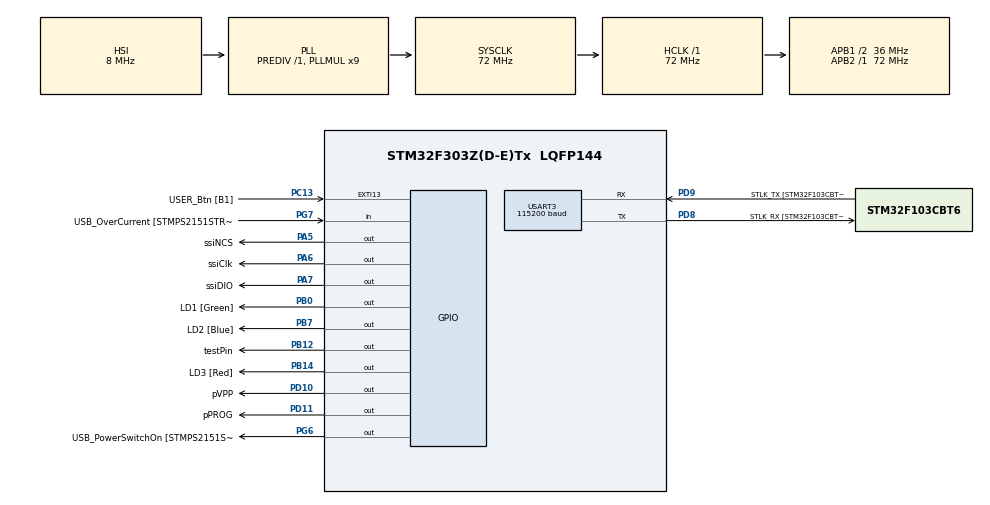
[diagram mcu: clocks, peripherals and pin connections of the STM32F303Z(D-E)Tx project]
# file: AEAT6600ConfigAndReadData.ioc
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Dma.Request0=USART3_TX
Dma.Request1=USART3_RX
Dma.USART3_RX.1.Direction=DMA_PERIPH_TO_MEMORY
Dma.USART3_RX.1.Instance=DMA1_Channel3
Dma.USART3_RX.1.MemDataAlignment=DMA_MDATAALIGN_BYTE
Dma.USART3_RX.1.MemInc=DMA_MINC_ENABLE
Dma.USART3_RX.1.Mode=DMA_NORMAL
Dma.USART3_RX.1.PeriphDataAlignment=DMA_PDATAALIGN_BYTE
Dma.USART3_RX.1.PeriphInc=DMA_PINC_DISABLE
Dma.USART3_RX.1.Priority=DMA_PRIORITY_LOW
Dma.USART3_TX.0.Direction=DMA_MEMORY_TO_PERIPH
Dma.USART3_TX.0.Instance=DMA1_Channel2
Dma.USART3_TX.0.MemDataAlignment=DMA_MDATAALIGN_BYTE
Dma.USART3_TX.0.MemInc=DMA_MINC_ENABLE
Dma.USART3_TX.0.Mode=DMA_NORMAL
Dma.USART3_TX.0.PeriphDataAlignment=DMA_PDATAALIGN_BYTE
Dma.USART3_TX.0.PeriphInc=DMA_PINC_DISABLE
Dma.USART3_TX.0.Priority=DMA_PRIORITY_LOW
Mcu.Family=STM32F3
Mcu.Name=STM32F303Z(D-E)Tx
Mcu.Package=LQFP144
NVIC.DMA1_Channel2_IRQn=true\:0\:0\:false\:false\:true\:false\:true\:true
NVIC.DMA1_Channel3_IRQn=true\:0\:0\:false\:false\:true\:false\:true\:true
NVIC.PriorityGroup=NVIC_PRIORITYGROUP_4
NVIC.TIM1_UP_TIM16_IRQn=true\:0\:0\:false\:false\:true\:true\:true\:true
NVIC.USART3_IRQn=true\:0\:0\:false\:false\:true\:true\:true\:true
PA11.GPIO_Label=USB_DM
PA11.Signal=USB_DM
PA12.GPIO_Label=USB_DP
PA12.Signal=USB_DP
PA13.GPIO_Label=TMS
PA13.Signal=SYS_JTMS-SWDIO
PA14.GPIO_Label=TCK
PA14.Signal=SYS_JTCK-SWCLK
PA5.GPIO_Label=ssiNCS
PA5.GPIO_Speed=GPIO_SPEED_FREQ_MEDIUM
PA5.Signal=GPIO_Output
PA6.GPIO_Label=ssiClk
PA6.GPIO_Speed=GPIO_SPEED_FREQ_HIGH
PA6.Signal=GPIO_Output
PA7.GPIO_Label=ssiDIO
PA7.GPIO_ModeDefaultOutputPP=GPIO_MODE_OUTPUT_OD
PA7.GPIO_PuPd=GPIO_PULLUP
PA7.GPIO_Speed=GPIO_SPEED_FREQ_HIGH
PA7.Signal=GPIO_Output
PB0.GPIO_Label=LD1 [Green]
PB0.Signal=GPIO_Output
PB12.GPIO_Label=testPin
PB12.GPIO_Speed=GPIO_SPEED_FREQ_HIGH
PB12.Signal=GPIO_Output
PB14.GPIO_Label=LD3 [Red]
PB14.Signal=GPIO_Output
PB3.GPIO_Label=SWO
PB3.Signal=SYS_JTDO-TRACESWO
PB7.GPIO_Label=LD2 [Blue]
PB7.GPIO_Speed=GPIO_SPEED_FREQ_MEDIUM
PB7.Signal=GPIO_Output
PC13.GPIO_Label=USER_Btn [B1]
PC13.Signal=GPXTI13
PC14-OSC32_IN.Signal=RCC_OSC32_IN
PC15-OSC32_OUT.Signal=RCC_OSC32_OUT
PD10.GPIO_Label=pVPP
PD10.Signal=GPIO_Output
PD11.GPIO_Label=pPROG
PD11.Signal=GPIO_Output
PD8.GPIO_Label=STLK_RX [STM32F103CBT6_PA3]
PD8.Mode=Asynchronous
PD8.Signal=USART3_TX
PD9.GPIO_Label=STLK_TX [STM32F103CBT6_PA2]
PD9.Mode=Asynchronous
PD9.Signal=USART3_RX
PF0-OSC_IN.GPIO_Label=MCO [STM32F103CBT6_PA8]
PF0-OSC_IN.Signal=RCC_OSC_IN
PG6.GPIO_Label=USB_PowerSwitchOn [STMPS2151STR_EN]
PG6.Signal=GPIO_Output
PG7.GPIO_Label=USB_OverCurrent [STMPS2151STR_FAULT]
PG7.Signal=GPIO_Input
ProjectManager.HeapSize=0x200
ProjectManager.StackSize=0x400
ProjectManager.TargetToolchain=STM32CubeIDE
RCC.AHBFreq_Value=72000000
RCC.APB1CLKDivider=RCC_HCLK_DIV2
RCC.APB1Freq_Value=36000000
RCC.APB1TimFreq_Value=72000000
RCC.APB2Freq_Value=72000000
RCC.APB2TimFreq_Value=72000000
RCC.CortexFreq_Value=72000000
RCC.HCLKFreq_Value=72000000
RCC.HSE_VALUE=8000000
RCC.HSI_VALUE=8000000
RCC.LSE_VALUE=32768
RCC.PLLMUL=RCC_PLL_MUL9
RCC.PRESCALERUSB=RCC_USBCLKSOURCE_PLL_DIV1_5
RCC.SYSCLKFreq_VALUE=72000000
RCC.SYSCLKSourceVirtual=RCC_SYSCLKSOURCE_PLLCLK
RCC.USBFreq_Value=48000000
TIM1.AutoReloadPreload=TIM_AUTORELOAD_PRELOAD_ENABLE
TIM1.Period=5
TIM1.Prescaler=71
USART3.BaudRate=115200
USART3.VirtualMode-Asynchronous=VM_ASYNC
VP_TIM1_VS_ClockSourceINT.Mode=Internal
board=NUCLEO-F303ZE

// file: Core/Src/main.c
/* USER CODE BEGIN Header */
/**
  ******************************************************************************
  * @file           : main.c
  * @brief          : Main program body
  ******************************************************************************
  * @attention
  *
  * Copyright (c) 2025 STMicroelectronics.
  * All rights reserved.
  *
  * This software is licensed under terms that can be found in the LICENSE file
  * in the root directory of this software component.
  * If no LICENSE file comes with this software, it is provided AS-IS.
  *
  ******************************************************************************
  */
/* USER CODE END Header */
#include "main.h"

/* USER CODE BEGIN Includes */
#include "..\..\app\uart\u.h"
/* USER CODE END Includes */

/* USER CODE BEGIN PD */
#define OTPDATA_bits31_16_ZeroPosition 0x00u /*(ZeroHI and LO - bits 31..16; )*/

//Inc Resolution Bits = 1024 CPR (bits 0,1,2)
//Absolute resolution = 12 bits (bit 8)
//Incremental select bit 10 remains 0 - ABI mode
//Incremental enable (bit 11)
#define OTPDATA_bits_15_0_ModeHI_and_LO (1u<<11) + (1u<<8) + 0x07u

/* USER CODE END PD */

TIM_HandleTypeDef htim1;

UART_HandleTypeDef huart3;
DMA_HandleTypeDef hdma_usart3_tx;
DMA_HandleTypeDef hdma_usart3_rx;

/* USER CODE BEGIN PV */

uint32_t inputData;
uint32_t inputDataFirstRead;
uint32_t inputDataSecondRead;

uint32_t evenParBit = 1u; //because there are 5 bits with value 1 in otpData; even parity means that total number of bits with value 1 must be even

uint32_t cntClkRisingEdge;

uint8_t mData[2];
uint16_t mData16;

uint32_t mSysTick;
uint32_t oldTick;
uint32_t oldBtn;

uint8_t csPinState;
uint8_t dataPinState;
uint8_t clkPinState;
uint8_t pState;
uint8_t oldpState;

uint8_t doInputMode;

uint8_t inputParBit;
uint8_t inputParBitFirstRead;
uint8_t inputParBitSecondRead;
uint8_t evTim1Tick;

uint8_t pStBuf[255];
uint8_t cPStateBuf;

volatile uint8_t btnPressed;

/* USER CODE END PV */

void SystemClock_Config(void);
static void MX_GPIO_Init(void);
static void MX_DMA_Init(void);
static void MX_TIM1_Init(void);
static void MX_USART3_UART_Init(void);

int main(void)
{
  /* USER CODE BEGIN 1 */
//	GPIO_InitTypeDef GPIO_InitStruct = {0};

//	uint8_t fSetPin2InputMode = 0u;
	oldTick = 0u;
	oldBtn = 10000u;
	csPinState = GPIO_PIN_SET;
	dataPinState = GPIO_PIN_SET;
	clkPinState = GPIO_PIN_SET;
	cntClkRisingEdge = 0u;
	btnPressed = 0u;
	doInputMode = 0u;
	evTim1Tick = 0u;

	pState = 0u;
	oldpState = 0u;

	cPStateBuf = 0u;

	mData[0]=0u;
	mData[1]=0u;

  /* USER CODE END 1 */

  /* MCU Configuration--------------------------------------------------------*/

  /* Reset of all peripherals, Initializes the Flash interface and the Systick. */
  HAL_Init();

  /* USER CODE BEGIN Init */
  uInit();

  /* USER CODE END Init */

  /* Configure the system clock */
  SystemClock_Config();

  /* Initialize all configured peripherals */
  MX_GPIO_Init();
  MX_DMA_Init();
  MX_TIM1_Init();
  MX_USART3_UART_Init();
  /* USER CODE BEGIN 2 */
  HAL_GPIO_WritePin(GPIOA, ssiNCS_Pin|ssiClk_Pin|ssiDIO_Pin, GPIO_PIN_SET);
  /* USER CODE END 2 */

  /* Infinite loop */
  /* USER CODE BEGIN WHILE */
  while (1)
  {
//	  uint8_t nBtn = GPIO_PIN_RESET;
//	  nBtn = HAL_GPIO_ReadPin(USER_Btn_GPIO_Port, USER_Btn_Pin);
	  mSysTick = HAL_GetTick();
	  if ( (oldTick!=mSysTick) /*&& (0u == (mSysTick%25))*/ )
	  {
//		  mData16 = ((((uint16_t)mData[1]&0x3F)<<8) + mData[0])>>4;
//		  HAL_GPIO_TogglePin(GPIOA, ssiNCS_Pin);
		  uTask();
		  oldTick = mSysTick;
	  }

    /* USER CODE END WHILE */

  }
}

void SystemClock_Config(void)
{
  RCC_OscInitTypeDef RCC_OscInitStruct = {0};
  RCC_ClkInitTypeDef RCC_ClkInitStruct = {0};
  RCC_PeriphCLKInitTypeDef PeriphClkInit = {0};

  /** Initializes the RCC Oscillators according to the specified parameters
  * in the RCC_OscInitTypeDef structure.
  */
  RCC_OscInitStruct.OscillatorType = RCC_OSCILLATORTYPE_HSI;
  RCC_OscInitStruct.HSIState = RCC_HSI_ON;
  RCC_OscInitStruct.HSICalibrationValue = RCC_HSICALIBRATION_DEFAULT;
  RCC_OscInitStruct.PLL.PLLState = RCC_PLL_ON;
  RCC_OscInitStruct.PLL.PLLSource = RCC_PLLSOURCE_HSI;
  RCC_OscInitStruct.PLL.PLLMUL = RCC_PLL_MUL9;
  RCC_OscInitStruct.PLL.PREDIV = RCC_PREDIV_DIV1;
  if (HAL_RCC_OscConfig(&RCC_OscInitStruct) != HAL_OK)
  {
    Error_Handler();
  }

  /** Initializes the CPU, AHB and APB buses clocks
  */
  RCC_ClkInitStruct.ClockType = RCC_CLOCKTYPE_HCLK|RCC_CLOCKTYPE_SYSCLK
                              |RCC_CLOCKTYPE_PCLK1|RCC_CLOCKTYPE_PCLK2;
  RCC_ClkInitStruct.SYSCLKSource = RCC_SYSCLKSOURCE_PLLCLK;
  RCC_ClkInitStruct.AHBCLKDivider = RCC_SYSCLK_DIV1;
  RCC_ClkInitStruct.APB1CLKDivider = RCC_HCLK_DIV2;
  RCC_ClkInitStruct.APB2CLKDivider = RCC_HCLK_DIV1;

  if (HAL_RCC_ClockConfig(&RCC_ClkInitStruct, FLASH_LATENCY_2) != HAL_OK)
  {
    Error_Handler();
  }
  PeriphClkInit.PeriphClockSelection = RCC_PERIPHCLK_USART3|RCC_PERIPHCLK_TIM1;
  PeriphClkInit.Usart3ClockSelection = RCC_USART3CLKSOURCE_PCLK1;
  PeriphClkInit.Tim1ClockSelection = RCC_TIM1CLK_HCLK;
  if (HAL_RCCEx_PeriphCLKConfig(&PeriphClkInit) != HAL_OK)
  {
    Error_Handler();
  }
}

static void MX_TIM1_Init(void)
{

  TIM_ClockConfigTypeDef sClockSourceConfig = {0};
  TIM_MasterConfigTypeDef sMasterConfig = {0};

  htim1.Instance = TIM1;
  htim1.Init.Prescaler = 71;
  htim1.Init.CounterMode = TIM_COUNTERMODE_UP;
  htim1.Init.Period = 5;
  htim1.Init.ClockDivision = TIM_CLOCKDIVISION_DIV1;
  htim1.Init.RepetitionCounter = 0;
  htim1.Init.AutoReloadPreload = TIM_AUTORELOAD_PRELOAD_ENABLE;
  if (HAL_TIM_Base_Init(&htim1) != HAL_OK)
  {
    Error_Handler();
  }
  sClockSourceConfig.ClockSource = TIM_CLOCKSOURCE_INTERNAL;
  if (HAL_TIM_ConfigClockSource(&htim1, &sClockSourceConfig) != HAL_OK)
  {
    Error_Handler();
  }
  sMasterConfig.MasterOutputTrigger = TIM_TRGO_RESET;
  sMasterConfig.MasterOutputTrigger2 = TIM_TRGO2_RESET;
  sMasterConfig.MasterSlaveMode = TIM_MASTERSLAVEMODE_DISABLE;
  if (HAL_TIMEx_MasterConfigSynchronization(&htim1, &sMasterConfig) != HAL_OK)
  {
    Error_Handler();
  }

}

static void MX_USART3_UART_Init(void)
{

  huart3.Instance = USART3;
  huart3.Init.BaudRate = 115200;
  huart3.Init.WordLength = UART_WORDLENGTH_8B;
  huart3.Init.StopBits = UART_STOPBITS_1;
  huart3.Init.Parity = UART_PARITY_NONE;
  huart3.Init.Mode = UART_MODE_TX_RX;
  huart3.Init.HwFlowCtl = UART_HWCONTROL_NONE;
  huart3.Init.OverSampling = UART_OVERSAMPLING_16;
  huart3.Init.OneBitSampling = UART_ONE_BIT_SAMPLE_DISABLE;
  huart3.AdvancedInit.AdvFeatureInit = UART_ADVFEATURE_NO_INIT;
  if (HAL_UART_Init(&huart3) != HAL_OK)
  {
    Error_Handler();
  }

}

static void MX_DMA_Init(void)
{

  /* DMA controller clock enable */
  __HAL_RCC_DMA1_CLK_ENABLE();

  /* DMA interrupt init */
  /* DMA1_Channel2_IRQn interrupt configuration */
  HAL_NVIC_SetPriority(DMA1_Channel2_IRQn, 0, 0);
  HAL_NVIC_EnableIRQ(DMA1_Channel2_IRQn);
  /* DMA1_Channel3_IRQn interrupt configuration */
  HAL_NVIC_SetPriority(DMA1_Channel3_IRQn, 0, 0);
  HAL_NVIC_EnableIRQ(DMA1_Channel3_IRQn);

}

static void MX_GPIO_Init(void)
{
  GPIO_InitTypeDef GPIO_InitStruct = {0};

  /* GPIO Ports Clock Enable */
  __HAL_RCC_GPIOC_CLK_ENABLE();
  __HAL_RCC_GPIOF_CLK_ENABLE();
  __HAL_RCC_GPIOA_CLK_ENABLE();
  __HAL_RCC_GPIOB_CLK_ENABLE();
  __HAL_RCC_GPIOD_CLK_ENABLE();
  __HAL_RCC_GPIOG_CLK_ENABLE();

  /*Configure GPIO pin Output Level */
  HAL_GPIO_WritePin(GPIOA, ssiNCS_Pin|ssiClk_Pin|ssiDIO_Pin, GPIO_PIN_RESET);

  /*Configure GPIO pin Output Level */
  HAL_GPIO_WritePin(GPIOB, LD1_Pin|testPin_Pin|LD3_Pin|LD2_Pin, GPIO_PIN_RESET);

  /*Configure GPIO pin Output Level */
  HAL_GPIO_WritePin(GPIOD, pVPP_Pin|pPROG_Pin, GPIO_PIN_RESET);

  /*Configure GPIO pin Output Level */
  HAL_GPIO_WritePin(USB_PowerSwitchOn_GPIO_Port, USB_PowerSwitchOn_Pin, GPIO_PIN_RESET);

  /*Configure GPIO pin : USER_Btn_Pin */
  GPIO_InitStruct.Pin = USER_Btn_Pin;
  GPIO_InitStruct.Mode = GPIO_MODE_IT_RISING;
  GPIO_InitStruct.Pull = GPIO_NOPULL;
  HAL_GPIO_Init(USER_Btn_GPIO_Port, &GPIO_InitStruct);

  /*Configure GPIO pin : ssiNCS_Pin */
  GPIO_InitStruct.Pin = ssiNCS_Pin;
  GPIO_InitStruct.Mode = GPIO_MODE_OUTPUT_PP;
  GPIO_InitStruct.Pull = GPIO_NOPULL;
  GPIO_InitStruct.Speed = GPIO_SPEED_FREQ_MEDIUM;
  HAL_GPIO_Init(ssiNCS_GPIO_Port, &GPIO_InitStruct);

  /*Configure GPIO pin : ssiClk_Pin */
  GPIO_InitStruct.Pin = ssiClk_Pin;
  GPIO_InitStruct.Mode = GPIO_MODE_OUTPUT_PP;
  GPIO_InitStruct.Pull = GPIO_NOPULL;
  GPIO_InitStruct.Speed = GPIO_SPEED_FREQ_HIGH;
  HAL_GPIO_Init(ssiClk_GPIO_Port, &GPIO_InitStruct);

  /*Configure GPIO pin : ssiDIO_Pin */
  GPIO_InitStruct.Pin = ssiDIO_Pin;
  GPIO_InitStruct.Mode = GPIO_MODE_OUTPUT_OD;
  GPIO_InitStruct.Pull = GPIO_PULLUP;
  GPIO_InitStruct.Speed = GPIO_SPEED_FREQ_HIGH;
  HAL_GPIO_Init(ssiDIO_GPIO_Port, &GPIO_InitStruct);

  /*Configure GPIO pins : LD1_Pin LD3_Pin */
  GPIO_InitStruct.Pin = LD1_Pin|LD3_Pin;
  GPIO_InitStruct.Mode = GPIO_MODE_OUTPUT_PP;
  GPIO_InitStruct.Pull = GPIO_NOPULL;
  GPIO_InitStruct.Speed = GPIO_SPEED_FREQ_LOW;
  HAL_GPIO_Init(GPIOB, &GPIO_InitStruct);

  /*Configure GPIO pin : testPin_Pin */
  GPIO_InitStruct.Pin = testPin_Pin;
  GPIO_InitStruct.Mode = GPIO_MODE_OUTPUT_PP;
  GPIO_InitStruct.Pull = GPIO_NOPULL;
  GPIO_InitStruct.Speed = GPIO_SPEED_FREQ_HIGH;
  HAL_GPIO_Init(testPin_GPIO_Port, &GPIO_InitStruct);

  /*Configure GPIO pins : pVPP_Pin pPROG_Pin */
  GPIO_InitStruct.Pin = pVPP_Pin|pPROG_Pin;
  GPIO_InitStruct.Mode = GPIO_MODE_OUTPUT_PP;
  GPIO_InitStruct.Pull = GPIO_NOPULL;
  GPIO_InitStruct.Speed = GPIO_SPEED_FREQ_LOW;
  HAL_GPIO_Init(GPIOD, &GPIO_InitStruct);

  /*Configure GPIO pin : USB_PowerSwitchOn_Pin */
  GPIO_InitStruct.Pin = USB_PowerSwitchOn_Pin;
  GPIO_InitStruct.Mode = GPIO_MODE_OUTPUT_PP;
  GPIO_InitStruct.Pull = GPIO_NOPULL;
  GPIO_InitStruct.Speed = GPIO_SPEED_FREQ_LOW;
  HAL_GPIO_Init(USB_PowerSwitchOn_GPIO_Port, &GPIO_InitStruct);

  /*Configure GPIO pin : USB_OverCurrent_Pin */
  GPIO_InitStruct.Pin = USB_OverCurrent_Pin;
  GPIO_InitStruct.Mode = GPIO_MODE_INPUT;
  GPIO_InitStruct.Pull = GPIO_NOPULL;
  HAL_GPIO_Init(USB_OverCurrent_GPIO_Port, &GPIO_InitStruct);

  /*Configure GPIO pin : LD2_Pin */
  GPIO_InitStruct.Pin = LD2_Pin;
  GPIO_InitStruct.Mode = GPIO_MODE_OUTPUT_PP;
  GPIO_InitStruct.Pull = GPIO_NOPULL;
  GPIO_InitStruct.Speed = GPIO_SPEED_FREQ_MEDIUM;
  HAL_GPIO_Init(LD2_GPIO_Port, &GPIO_InitStruct);

}

void Error_Handler(void)
{
  __disable_irq();
  while (1)
  {
  }
}
